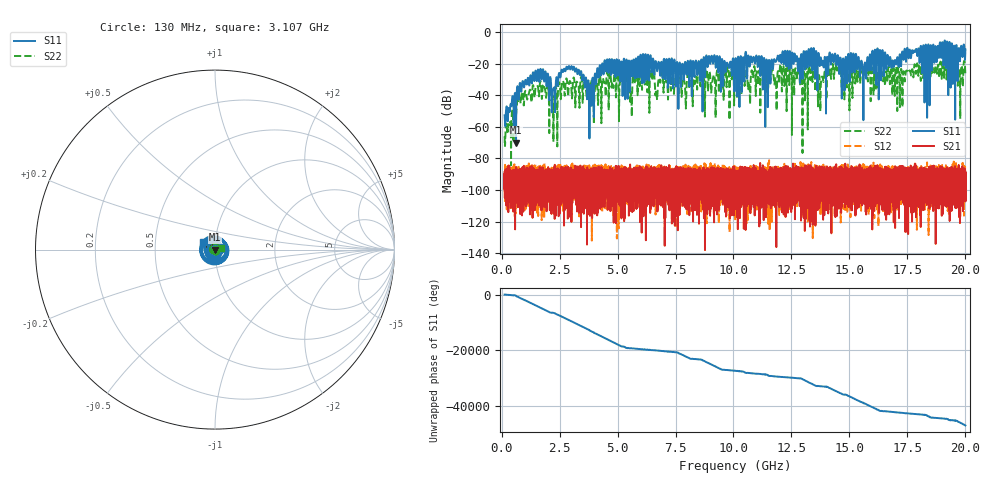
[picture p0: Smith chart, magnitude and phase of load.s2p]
!Created with skrf (http://scikit-rf.org).
# GHz S RI R 50.0
!freq ReS11 ImS11 ReS21 ImS21 ReS12 ImS12 ReS22 ImS22
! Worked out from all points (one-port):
!   20013 points, 130 MHz to 20 GHz, reference 50 ohm
!   lowest |S11| = -70.0 dB at 624 MHz (marker M1), VSWR 1.00, Z = 50 - j0.0313 ohm
!   |S11| at or under -10 dB: start of sweep to 18.06 GHz; 18.09886 GHz to 18.16721 GHz (68.35 MHz wide, 0.377 % of centre); 19.63 GHz to 19.8 GHz (172.9 MHz wide, 0.877 % of centre) (the widest 3 of 19)
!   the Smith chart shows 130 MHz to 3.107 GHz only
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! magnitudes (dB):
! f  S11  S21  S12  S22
! 130 MHz  -52.8  -91.2  -91.3  -66.0
! 624 MHz  -70.0  -88.5  -89.9  -51.9
! 1.514 GHz  -31.0  -94.5  -94.1  -35.1
! 2.235 GHz  -36.1  -91.4  -95.7  -69.5
! 2.658 GHz  -25.0  -88.4  -91.3  -31.3
! 3.442 GHz  -25.6  -94.3  -91.2  -28.7
! 3.781 GHz  -44.9  -103.9  -84.3  -32.3
! 4.499 GHz  -25.0  -92.2  -97.2  -37.3
! 5.554 GHz  -25.8  -94.1  -92.2  -42.4
! 5.742 GHz  -29.3  -90.8  -91.0  -32.5
! 6.17 GHz  -19.4  -101.7  -85.8  -32.0
! 6.754 GHz  -19.4  -90.2  -94.2  -31.3
! 7.304 GHz  -20.1  -109.8  -100.2  -37.1
! 7.86 GHz  -29.5  -92.7  -95.1  -29.6
! 10.06 GHz  -19.2  -98.5  -92.5  -22.7
! 13.38 GHz  -12.8  -97.8  -90.4  -24.8
! 13.72 GHz  -21.2  -93.5  -92.8  -32.7
! 14.33 GHz  -18.0  -94.9  -103.4  -29.7
! 15.65 GHz  -20.9  -89.2  -90.4  -22.6
! 16.04 GHz  -25.1  -86.3  -98.2  -34.8
! 16.69 GHz  -20.7  -93.5  -87.3  -21.8
! 20 GHz  -11.1  -101.3  -92.4  -27.7
